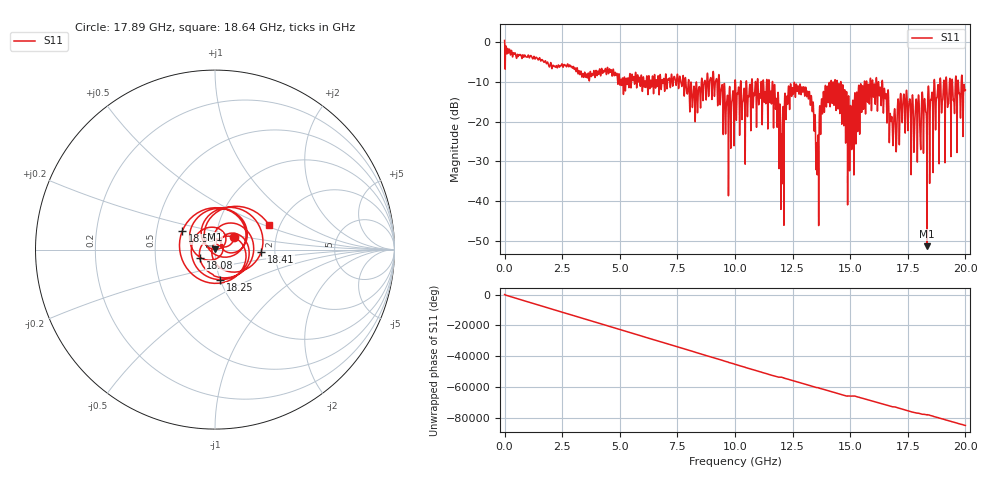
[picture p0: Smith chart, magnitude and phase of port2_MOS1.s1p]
! MS46122B
! 2250307/22442219
! 7/22/2025 3:16:51 PM
! C:\USERS\SPARKY\DOCUMENTS\VNA_DATA\JULY22_2025\295\PORT2_MOS1.S1P
! CHANNEL.1
! TR.MEASUREMENT
! RAW.DATA
# GHZ S RI R 50.0
! FREQ.GHZ  S11RE  S11IM
!; PortSelection: Port_1
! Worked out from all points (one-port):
!   10001 points, 1 MHz to 20 GHz, reference 50 ohm
!   lowest |S11| = -51.4 dB at 18.33 GHz (marker M1), VSWR 1.01, Z = 49.8 + j0.163 ohm
!   |S11| at or under -10 dB: 11.63 GHz to 14.17 GHz (2.534 GHz wide, 19.6 % of centre); 14.6 GHz to 15.62 GHz (1.019 GHz wide, 6.75 % of centre); 16.4 GHz to 18.64 GHz (2.238 GHz wide, 12.8 % of centre) (the widest 3 of 72)
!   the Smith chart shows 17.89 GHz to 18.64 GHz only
!   S11 on the Smith chart (normalised r, x): 17.89 GHz: 1.23, +0.17; 18.08 GHz: 0.85, -0.08; 18.25 GHz: 1.00, -0.35; 18.41 GHz: 1.69, -0.04; 18.53 GHz: 0.68, +0.15; 18.64 GHz: 1.75, +0.55
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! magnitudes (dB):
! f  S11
! 1 MHz  0.4
! 2.501 GHz  -5.5
! 5.001 GHz  -10.6
! 7.501 GHz  -8.1
! 9.655 GHz  -14.1
! 10 GHz  -9.8
! 11.55 GHz  -12.4
! 12.05 GHz  -35.5
! 12.24 GHz  -13.9
! 12.5 GHz  -11.5
! 13.23 GHz  -12.6
! 13.55 GHz  -26.8
! 13.76 GHz  -14.4
! 14.01 GHz  -11.1
! 14.51 GHz  -10.5
! 15 GHz  -17.9
! 15.8 GHz  -10.7
! 16.47 GHz  -12.7
! 16.93 GHz  -16.8
! 17.5 GHz  -21.8
! 17.89 GHz  -17.8
! 18.08 GHz  -20.7
! 18.25 GHz  -15.4
! 18.33 GHz  -51.4
! 18.41 GHz  -11.8
! 18.53 GHz  -13.6
! 18.64 GHz  -9.6
! 20 GHz  -12.1
